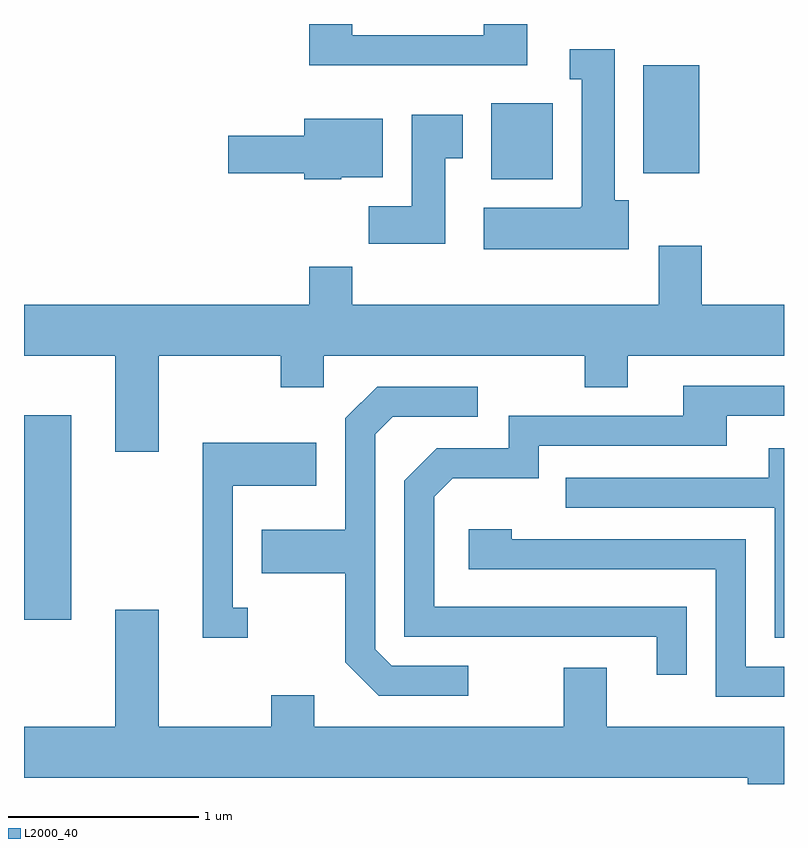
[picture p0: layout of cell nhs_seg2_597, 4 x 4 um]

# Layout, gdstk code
import gdstk
lib = gdstk.Library(unit=1e-6, precision=1e-09)
def R(c, l, rs):  # rectangles x0, y0, x1, y1
    for r in rs: c.add(gdstk.rectangle(r[:2], r[2:], *l))
def P(c, l, *ps):  # polygons
    for p in ps: c.add(gdstk.Polygon(p, *l))
L2000_40 = (2000, 40)

nhs_seg2_597 = lib.new_cell('nhs_seg2_597')
R(nhs_seg2_597, L2000_40, [(201.611,1084.666,201.859,1085.744), (204.071,1086.986,204.394,1087.384), (204.871,1087.016,205.164,1087.584)])
P(nhs_seg2_597, L2000_40, [(204.259,1087.802),(204.031,1087.802),(204.031,1087.744),(203.339,1087.744),(203.339,1087.802),(203.111,1087.802),(203.111,1087.586),(204.259,1087.586)],
  [(204.794,1086.874),(204.719,1086.874),(204.719,1087.669),(204.483,1087.669),(204.483,1087.511),(204.546,1087.511),(204.546,1086.84),(204.54,1086.84),(204.54,1086.834),(204.031,1086.834),(204.031,1086.616),(204.794,1086.616)],
  [(203.829,1087.096),(203.919,1087.096),(203.919,1087.324),(203.651,1087.324),(203.651,1086.844),(203.426,1086.844),(203.426,1086.646),(203.829,1086.646)],
  [(203.28,1086.996),(203.499,1086.996),(203.499,1087.304),(203.086,1087.304),(203.086,1087.214),(202.686,1087.214),(202.686,1087.016),(203.086,1087.016),(203.086,1086.986),(203.28,1086.986)],
  [(202.319,1086.056),(202.961,1086.056),(202.961,1085.891),(203.189,1085.891),(203.189,1086.056),(204.561,1086.056),(204.561,1085.891),(204.789,1085.891),(204.789,1086.056),(205.611,1086.056),(205.611,1086.324),(205.179,1086.324),(205.179,1086.634),(204.951,1086.634),(204.951,1086.324),(203.339,1086.324),(203.339,1086.524),(203.111,1086.524),(203.111,1086.324),(201.611,1086.324),(201.611,1086.056),(202.091,1086.056),(202.091,1085.551),(202.319,1085.551)],
  [(205.099,1084.734),(203.769,1084.734),(203.769,1085.314),(203.867,1085.411),(204.319,1085.411),(204.319,1085.581),(205.309,1085.581),(205.309,1085.741),(205.611,1085.741),(205.611,1085.899),(205.081,1085.899),(205.081,1085.739),(204.161,1085.739),(204.161,1085.569),(203.784,1085.569),(203.611,1085.397),(203.611,1084.576),(204.941,1084.576),(204.941,1084.378),(205.099,1084.378)],
  [(203.948,1084.424),(203.547,1084.424),(203.459,1084.512),(203.459,1085.644),(203.552,1085.736),(203.998,1085.736),(203.998,1085.894),(203.469,1085.894),(203.301,1085.727),(203.301,1085.139),(202.861,1085.139),(202.861,1084.911),(203.301,1084.911),(203.301,1084.444),(203.479,1084.266),(203.948,1084.266)],
  [(202.788,1084.729),(202.709,1084.729),(202.709,1085.371),(203.149,1085.371),(203.149,1085.599),(202.551,1085.599),(202.551,1084.571),(202.788,1084.571)],
  [(205.611,1085.569),(205.531,1085.569),(205.531,1085.414),(204.463,1085.414),(204.463,1085.256),(205.561,1085.256),(205.561,1084.571),(205.611,1084.571)],
  [(205.611,1084.419),(205.409,1084.419),(205.409,1085.089),(204.179,1085.089),(204.179,1085.144),(203.951,1085.144),(203.951,1084.931),(205.251,1084.931),(205.251,1084.261),(205.611,1084.261)],
  [(205.611,1084.104),(204.679,1084.104),(204.679,1084.414),(204.451,1084.414),(204.451,1084.104),(203.139,1084.104),(203.139,1084.269),(202.911,1084.269),(202.911,1084.104),(202.319,1084.104),(202.319,1084.719),(202.091,1084.719),(202.091,1084.104),(201.611,1084.104),(201.611,1083.836),(205.421,1083.836),(205.421,1083.802),(205.611,1083.802)])

lib.write_gds('nhs_seg2_597.gds')
